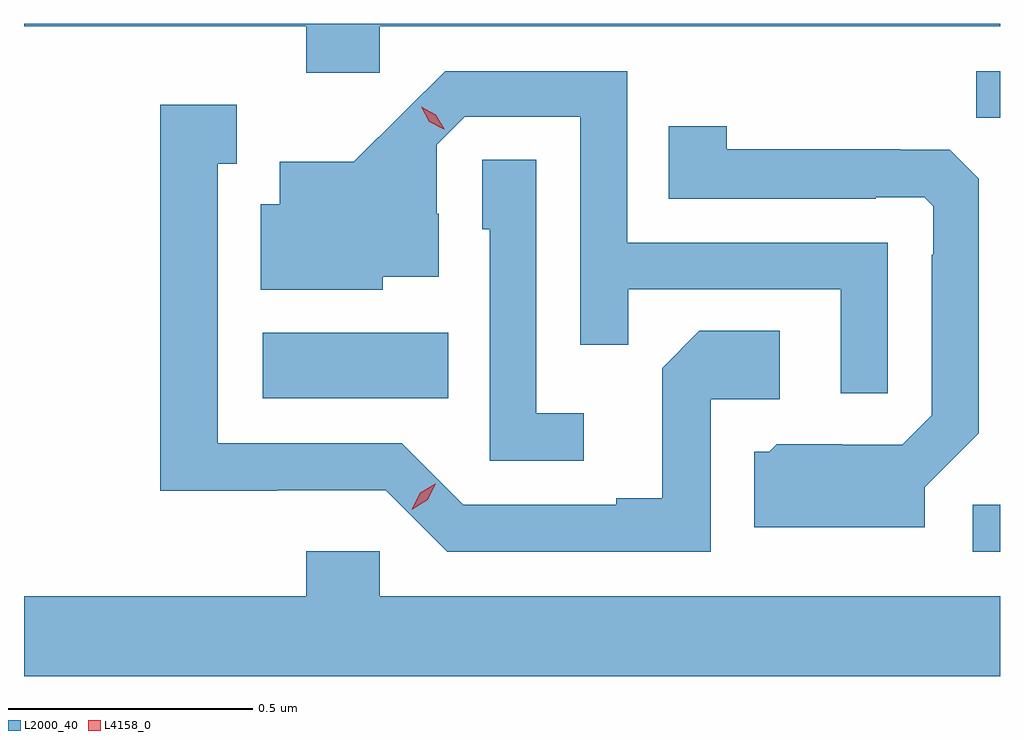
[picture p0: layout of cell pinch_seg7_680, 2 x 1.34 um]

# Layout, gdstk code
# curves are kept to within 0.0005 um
import gdstk
lib = gdstk.Library(unit=1e-6, precision=1e-09)
def R(c, l, rs):  # rectangles x0, y0, x1, y1
    for r in rs: c.add(gdstk.rectangle(r[:2], r[2:], *l))
def P(c, l, *ps):  # polygons
    for p in ps: c.add(gdstk.Polygon(p, *l))
L2000_40 = (2000, 40)
L4158_0 = (4158, 0)

pinch_seg7_680 = lib.new_cell('pinch_seg7_680')
R(pinch_seg7_680, L2000_40, [(114.411,1019.52,114.467,1019.616), (112.956,1019.834,113.336,1019.968), (114.418,1020.409,114.467,1020.504)])
P(pinch_seg7_680, L2000_40, [(113.196,1020.596),(114.467,1020.596),(114.467,1020.602),(112.467,1020.602),(112.467,1020.596),(113.045,1020.596),(113.045,1020.501),(113.196,1020.501)],
  [(114.237,1020.153),(113.703,1020.153),(113.703,1020.504),(113.33,1020.504),(113.143,1020.319),(112.991,1020.319),(112.991,1020.232),(112.952,1020.232),(112.952,1020.056),(113.202,1020.056),(113.202,1020.083),(113.317,1020.083),(113.317,1020.212),(113.313,1020.212),(113.313,1020.354),(113.37,1020.411),(113.607,1020.411),(113.607,1019.944),(113.705,1019.944),(113.705,1020.057),(114.141,1020.057),(114.141,1019.844),(114.237,1019.844)],
  [(113.874,1019.832),(114.016,1019.832),(114.016,1019.972),(113.851,1019.972),(113.775,1019.896),(113.775,1019.629),(113.681,1019.629),(113.681,1019.616),(113.367,1019.616),(113.241,1019.742),(112.864,1019.742),(112.864,1020.315),(112.903,1020.315),(112.903,1020.436),(112.746,1020.436),(112.746,1019.645),(112.986,1019.645),(112.986,1019.646),(113.208,1019.646),(113.334,1019.52),(113.874,1019.52)],
  [(114.313,1019.652),(114.423,1019.762),(114.423,1020.284),(114.364,1020.343),(114.263,1020.343),(114.263,1020.344),(113.907,1020.344),(113.907,1020.391),(113.788,1020.391),(113.788,1020.243),(114.212,1020.243),(114.212,1020.246),(114.312,1020.246),(114.33,1020.228),(114.33,1020.128),(114.327,1020.128),(114.327,1019.799),(114.267,1019.739),(114.144,1019.739),(114.144,1019.74),(114.01,1019.74),(113.994,1019.724),(113.963,1019.724),(113.963,1019.57),(114.313,1019.57)],
  [(113.614,1019.803),(113.517,1019.803),(113.517,1020.323),(113.406,1020.323),(113.406,1020.18),(113.421,1020.18),(113.421,1019.706),(113.614,1019.706)],
  [(114.467,1019.428),(113.196,1019.428),(113.196,1019.521),(113.045,1019.521),(113.045,1019.428),(112.467,1019.428),(112.467,1019.264),(114.467,1019.264)])
P(pinch_seg7_680, L4158_0, [(113.327,1020.385),(113.297,1020.401),(113.281,1020.431),(113.281,1020.431),(113.281,1020.431),(113.311,1020.415),(113.328,1020.386),(113.328,1020.385)],
  [(113.262,1019.606),(113.262,1019.607),(113.279,1019.64),(113.31,1019.659),(113.311,1019.659),(113.311,1019.659),(113.294,1019.626),(113.262,1019.606)])

lib.write_gds('pinch_seg7_680.gds')
